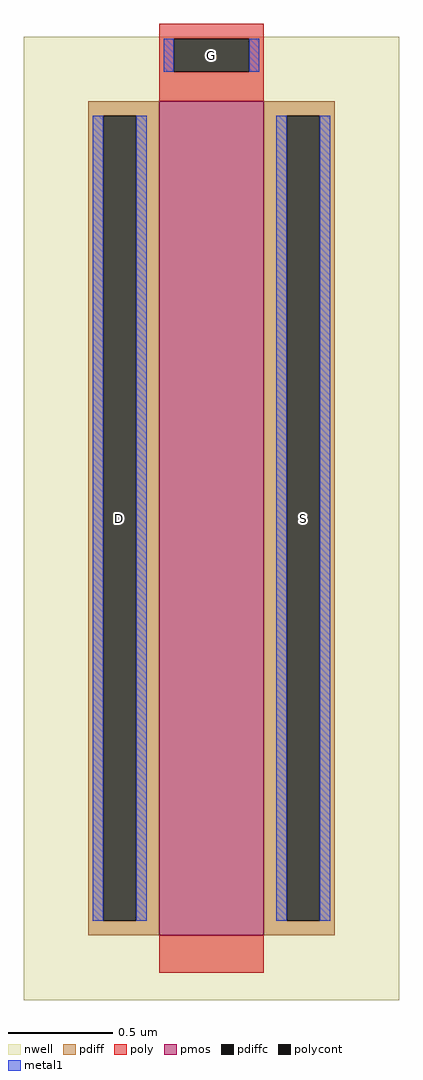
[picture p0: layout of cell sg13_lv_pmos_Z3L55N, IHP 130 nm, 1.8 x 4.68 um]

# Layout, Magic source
magic
tech ihp-sg13g2
magscale 1 2
<< nwell >>
rect -180 -481 180 443
<< pmos >>
rect -50 -419 50 381
<< pdiff >>
rect -118 367 -50 381
rect -118 -405 -104 367
rect -72 -405 -50 367
rect -118 -419 -50 -405
rect 50 367 118 381
rect 50 -405 72 367
rect 104 -405 118 367
rect 50 -419 118 -405
<< pdiffc >>
rect -104 -405 -72 367
rect 72 -405 104 367
<< poly >>
rect -50 441 50 455
rect -50 409 -36 441
rect 36 409 50 441
rect -50 381 50 409
rect -50 -455 50 -419
<< polycont >>
rect -36 409 36 441
<< metal1 >>
rect -46 409 -36 441
rect 36 409 46 441
rect -114 -405 -104 367
rect -72 -405 -62 367
rect 62 -405 72 367
rect 104 -405 114 367
<< labels >>
rlabel pdiffc -88 -19 -88 -19 0 D
port 1 nsew
rlabel pdiffc 88 -19 88 -19 0 S
port 2 nsew
rlabel polycont 0 425 0 425 0 G
port 3 nsew
<< properties >>
string gencell sg13_lv_pmos
string library sg13g2
string parameters w 4 l 0.5 m 1 nf 1 diffcov 100 polycov 100 guard 0 glc 1 grc 1 gtc 1 gbc 1 tbcov 100 rlcov 100 topc 1 botc 0 poverlap 0 doverlap 1 lmin 0.13 wmin 0.15 class mosfet compatible {sg13_lv_pmos sg13_hv_pmos} full_metal 1 conn_gates 0 gate_ring 0 ccols 1 viasrc 0 viadrn 0 viagate 0 viagb 0 viagr 0 viagl 0 viagt 0 doports 1
<< end >>
